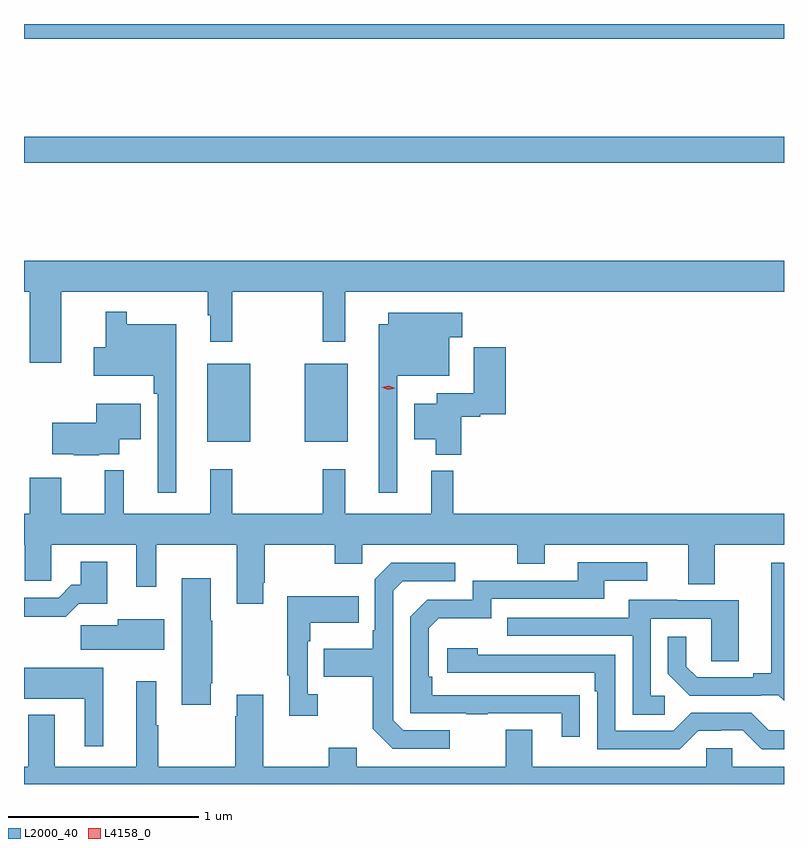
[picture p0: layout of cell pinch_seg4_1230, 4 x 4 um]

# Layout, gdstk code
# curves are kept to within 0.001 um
import gdstk
lib = gdstk.Library(unit=1e-6, precision=1e-09)
def R(c, l, rs):  # rectangles x0, y0, x1, y1
    for r in rs: c.add(gdstk.rectangle(r[:2], r[2:], *l))
def P(c, l, *ps):  # polygons
    for p in ps: c.add(gdstk.Polygon(p, *l))
L2000_40 = (2000, 40)
L4158_0 = (4158, 0)

pinch_seg4_1230 = lib.new_cell('pinch_seg4_1230')
R(pinch_seg4_1230, L2000_40, [(249.857,827.999,250.084,828.409), (250.37,827.999,250.597,828.409), (248.893,829.468,252.893,829.604), (248.893,830.12,252.893,830.197)])
P(pinch_seg4_1230, L2000_40, [(249.088,828.788),(249.861,828.788),(249.861,828.665),(249.872,828.665),(249.872,828.525),(249.989,828.525),(249.989,828.788),(250.465,828.788),(250.465,828.525),(250.584,828.525),(250.584,828.788),(252.893,828.788),(252.893,828.952),(248.893,828.952),(248.893,828.788),(248.924,828.788),(248.924,828.414),(249.088,828.414)],
  [(249.694,828.616),(249.433,828.616),(249.433,828.682),(249.322,828.682),(249.322,828.495),(249.26,828.495),(249.26,828.347),(249.577,828.347),(249.577,828.251),(249.597,828.251),(249.597,827.73),(249.694,827.73)],
  [(250.857,828.347),(251.131,828.347),(251.131,828.549),(251.2,828.549),(251.2,828.676),(250.811,828.676),(250.811,828.616),(250.76,828.616),(250.76,827.73),(250.857,827.73)],
  [(251.195,828.131),(251.295,828.131),(251.295,828.143),(251.429,828.143),(251.429,828.496),(251.26,828.496),(251.26,828.253),(251.066,828.253),(251.066,828.199),(250.946,828.199),(250.946,828.011),(251.06,828.011),(251.06,827.93),(251.195,827.93)],
  [(249.29,827.933),(249.394,827.933),(249.394,828.011),(249.508,828.011),(249.508,828.199),(249.272,828.199),(249.272,828.099),(249.042,828.099),(249.042,827.933),(249.154,827.933),(249.154,827.926),(249.29,827.926)],
  [(250.153,827.257),(250.161,827.257),(250.161,827.456),(250.528,827.456),(250.528,827.357),(250.674,827.357),(250.674,827.456),(251.488,827.456),(251.488,827.357),(251.635,827.357),(251.635,827.456),(252.389,827.456),(252.389,827.248),(252.529,827.248),(252.529,827.456),(252.893,827.456),(252.893,827.62),(251.153,827.62),(251.153,827.845),(251.036,827.845),(251.036,827.62),(250.583,827.62),(250.583,827.854),(250.465,827.854),(250.465,827.62),(249.989,827.62),(249.989,827.854),(249.872,827.854),(249.872,827.62),(249.419,827.62),(249.419,827.848),(249.319,827.848),(249.319,827.62),(249.088,827.62),(249.088,827.809),(248.924,827.809),(248.924,827.62),(248.893,827.62),(248.893,827.456),(248.897,827.456),(248.897,827.266),(249.036,827.266),(249.036,827.456),(249.485,827.456),(249.485,827.235),(249.589,827.235),(249.589,827.456),(250.013,827.456),(250.013,827.145),(250.153,827.145)],
  [(249.182,827.147),(249.331,827.147),(249.331,827.368),(249.191,827.368),(249.191,827.245),(249.142,827.245),(249.075,827.178),(248.893,827.178),(248.893,827.078),(249.113,827.078)],
  [(251.819,826.664),(251.042,826.665),(251.042,826.762),(251.022,826.762),(251.022,827.016),(251.075,827.069),(251.352,827.069),(251.352,827.172),(251.947,827.172),(251.947,827.268),(252.172,827.268),(252.172,827.364),(251.807,827.364),(251.807,827.268),(251.256,827.268),(251.256,827.166),(251.016,827.166),(250.926,827.076),(250.926,826.569),(251.221,826.569),(251.221,826.564),(251.333,826.564),(251.333,826.569),(251.723,826.569),(251.723,826.446),(251.819,826.446)],
  [(252.893,827.361),(252.827,827.361),(252.827,826.781),(252.731,826.781),(252.731,826.758),(252.436,826.758),(252.379,826.815),(252.379,826.972),(252.282,826.972),(252.282,826.778),(252.398,826.662),(252.77,826.662),(252.77,826.665),(252.864,826.665),(252.893,826.636)],
  [(251.134,826.479),(250.89,826.479),(250.836,826.533),(250.836,827.214),(250.887,827.265),(251.164,827.265),(251.164,827.361),(250.827,827.361),(250.74,827.274),(250.74,827.005),(250.728,827.005),(250.728,826.909),(250.471,826.909),(250.471,826.762),(250.728,826.762),(250.728,826.489),(250.833,826.383),(251.134,826.383)],
  [(249.877,826.726),(249.885,826.726),(249.885,827.057),(249.877,827.057),(249.877,827.281),(249.722,827.281),(249.722,826.614),(249.877,826.614)],
  [(250.438,826.67),(250.386,826.67),(250.386,826.949),(250.399,826.949),(250.399,827.045),(250.655,827.045),(250.655,827.185),(250.278,827.185),(250.278,826.769),(250.289,826.769),(250.289,826.557),(250.438,826.557)],
  [(252.265,826.662),(252.192,826.662),(252.192,827.067),(252.51,827.067),(252.51,826.843),(252.655,826.843),(252.655,827.163),(252.331,827.163),(252.331,827.167),(252.077,827.167),(252.077,827.073),(251.437,827.073),(251.437,826.977),(252.096,826.977),(252.096,826.561),(252.265,826.561)],
  [(249.631,827.065),(249.386,827.065),(249.386,827.033),(249.192,827.033),(249.192,826.904),(249.631,826.904)],
  [(252.893,826.479),(252.813,826.479),(252.72,826.572),(252.405,826.572),(252.309,826.476),(252.006,826.476),(252.006,826.878),(251.282,826.878),(251.282,826.912),(251.121,826.912),(251.121,826.782),(251.897,826.782),(251.897,826.685),(251.91,826.685),(251.91,826.38),(252.345,826.38),(252.441,826.476),(252.56,826.476),(252.56,826.479),(252.675,826.479),(252.775,826.379),(252.893,826.379)],
  [(249.31,826.81),(248.893,826.81),(248.893,826.646),(249.212,826.646),(249.212,826.395),(249.31,826.395)],
  [(252.893,826.288),(252.621,826.288),(252.621,826.386),(252.483,826.386),(252.483,826.288),(251.569,826.288),(251.569,826.483),(251.429,826.483),(251.429,826.288),(250.645,826.288),(250.645,826.387),(250.498,826.387),(250.498,826.288),(250.153,826.288),(250.153,826.666),(250.013,826.666),(250.013,826.553),(250.006,826.553),(250.006,826.288),(249.599,826.288),(249.599,826.505),(249.589,826.505),(249.589,826.738),(249.485,826.738),(249.485,826.288),(249.055,826.288),(249.055,826.561),(248.915,826.561),(248.915,826.288),(248.893,826.288),(248.893,826.197),(252.893,826.197)])
P(pinch_seg4_1230, L4158_0, [(250.81,828.272),(250.776,828.284),(250.775,828.284),(250.776,828.284),(250.812,828.292),(250.847,828.28),(250.847,828.28),(250.847,828.28)])

lib.write_gds('pinch_seg4_1230.gds')
